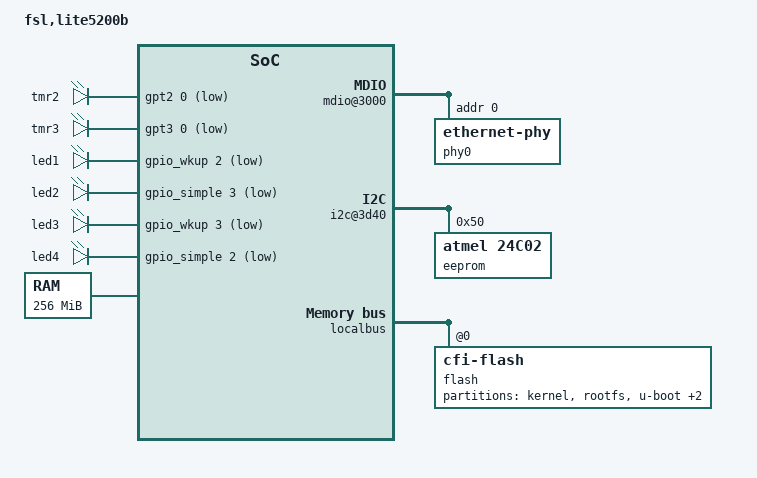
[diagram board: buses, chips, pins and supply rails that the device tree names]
// SPDX-License-Identifier: GPL-2.0-or-later
/*
 * Lite5200B board Device Tree Source
 *
 * Copyright 2006-2007 Secret Lab Technologies Ltd.
 * Grant Likely <grant.likely@secretlab.ca>
 */

/include/ "mpc5200b.dtsi"

&gpt0 { fsl,has-wdt; };
&gpt2 { gpio-controller; };
&gpt3 { gpio-controller; };

/ {
	model = "fsl,lite5200b";
	compatible = "fsl,lite5200b";

	leds {
		compatible = "gpio-leds";
		tmr2 {
			gpios = <&gpt2 0 1>;
		};
		tmr3 {
			gpios = <&gpt3 0 1>;
			linux,default-trigger = "heartbeat";
		};
		led1 { gpios = <&gpio_wkup 2 1>; };
		led2 { gpios = <&gpio_simple 3 1>; };
		led3 { gpios = <&gpio_wkup 3 1>; };
		led4 { gpios = <&gpio_simple 2 1>; };
	};

	memory@0 {
		reg = <0x00000000 0x10000000>;	// 256MB
	};

	soc5200@f0000000 {
		psc@2000 {		// PSC1
			compatible = "fsl,mpc5200b-psc-uart","fsl,mpc5200-psc-uart";
			cell-index = <0>;
		};

		psc@2200 {		// PSC2
			status = "disabled";
		};

		psc@2400 {		// PSC3
			status = "disabled";
		};

		psc@2600 {		// PSC4
			status = "disabled";
		};

		psc@2800 {		// PSC5
			status = "disabled";
		};

		psc@2c00 {		// PSC6
			status = "disabled";
		};

		// PSC2 in ac97 mode example
		//ac97@2200 {		// PSC2
		//	compatible = "fsl,mpc5200b-psc-ac97","fsl,mpc5200-psc-ac97";
		//	cell-index = <1>;
		//};

		// PSC3 in CODEC mode example
		//i2s@2400 {		// PSC3
		//	compatible = "fsl,mpc5200b-psc-i2s"; //not 5200 compatible
		//	cell-index = <2>;
		//};

		// PSC6 in spi mode example
		//spi@2c00 {		// PSC6
		//	compatible = "fsl,mpc5200b-psc-spi","fsl,mpc5200-psc-spi";
		//	cell-index = <5>;
		//};

		ethernet@3000 {
			phy-handle = <&phy0>;
		};

		mdio@3000 {
			phy0: ethernet-phy@0 {
				reg = <0>;
			};
		};

		i2c@3d40 {
			eeprom@50 {
				compatible = "atmel,24c02";
				reg = <0x50>;
			};
		};

		sram@8000 {
			compatible = "fsl,mpc5200b-sram","fsl,mpc5200-sram";
			reg = <0x8000 0x4000>;
		};
	};

	pci@f0000d00 {
		interrupt-map-mask = <0xf800 0 0 7>;
		interrupt-map = <0xc000 0 0 1 &mpc5200_pic 0 0 3 // 1st slot
				 0xc000 0 0 2 &mpc5200_pic 1 1 3
				 0xc000 0 0 3 &mpc5200_pic 1 2 3
				 0xc000 0 0 4 &mpc5200_pic 1 3 3

				 0xc800 0 0 1 &mpc5200_pic 1 1 3 // 2nd slot
				 0xc800 0 0 2 &mpc5200_pic 1 2 3
				 0xc800 0 0 3 &mpc5200_pic 1 3 3
				 0xc800 0 0 4 &mpc5200_pic 0 0 3>;
		clock-frequency = <0>; // From boot loader
		interrupts = <2 8 0 2 9 0 2 10 0>;
		bus-range = <0 0>;
		ranges = <0x42000000 0 0x80000000 0x80000000 0 0x20000000>,
			 <0x02000000 0 0xa0000000 0xa0000000 0 0x10000000>,
			 <0x01000000 0 0x00000000 0xb0000000 0 0x01000000>;
	};

	localbus {
		ranges = <0 0 0xfe000000 0x02000000>;

		flash@0,0 {
			compatible = "cfi-flash";
			reg = <0 0 0x02000000>;
			bank-width = <1>;
			#size-cells = <1>;
			#address-cells = <1>;

			partition@0 {
				label = "kernel";
				reg = <0x00000000 0x00200000>;
			};
			partition@200000 {
				label = "rootfs";
				reg = <0x00200000 0x01d00000>;
			};
			partition@1f00000 {
				label = "u-boot";
				reg = <0x01f00000 0x00060000>;
			};
			partition@1f60000 {
				label = "u-boot-env";
				reg = <0x01f60000 0x00020000>;
			};
			partition@1f80000 {
				label = "dtb";
				reg = <0x01f80000 0x00080000>;
			};
		};
	};

};
